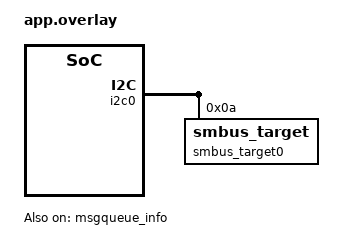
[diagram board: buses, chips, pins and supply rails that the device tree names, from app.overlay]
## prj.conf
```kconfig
CONFIG_ZTEST=y

CONFIG_TT_BH_ARC=y
CONFIG_TT_BOOT_FS=y
CONFIG_NANOPB=y

CONFIG_EMUL=y
CONFIG_I2C_EMUL=y
CONFIG_I2C_TARGET=y
CONFIG_SMBUS_TARGET=y
CONFIG_I2C=y

CONFIG_CLOCK_CONTROL=y
CONFIG_CLOCK_CONTROL_EMUL=y
```

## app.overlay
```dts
/ {
	fwtable: fwtable {
		compatible = "tenstorrent,bh-fwtable";
		status = "okay";
		flash-dev = <&flashcontroller0>;
	};

	pll0: pll0 {
		compatible = "tenstorrent,clock-control-emul";
		status = "okay";
	};

	pll1: pll1 {
		compatible = "tenstorrent,clock-control-emul";
		status = "okay";
	};

	pll4: pll4 {
		compatible = "tenstorrent,clock-control-emul";
		status = "okay";
	};

	dma1: noc_dma {
		status = "okay";
	};

	pvt: pvt {
		compatible = "tenstorrent,bh-pvt-emul";
		num_pd = <16>;
		num_vm = <8>;
		num_ts = <8>;
		pd-raw = <15300>;
		vm-raw = <11795>;
		ts-raw = <1142>;
		status = "okay";
	};

	efuse: efuse {
		compatible = "tenstorrent,bh-efuse-emul";
		status = "okay";
	};

	wdt0: wdt0 {
		compatible = "tenstorrent,bh-watchdog";
		status = "okay";
	};

	msgqueue_info: scratch-reg@8003042c {
		compatible = "tenstorrent,scratch-reg";
		reg = <0x8003042c 0x4>;
		status = "okay";
	};
};

#include <tenstorrent/tt_bh_reset_emul.dtsi>

&i2c0 {
	smbus_target0: smbus@0a {
		status = "okay";
		compatible = "zephyr,smbus_target";
		reg = <0x0a>;
	};
};
```

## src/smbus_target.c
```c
/*
 * Copyright (c) 2025 Tenstorrent AI ULC
 *
 * SPDX-License-Identifier: Apache-2.0
 */

#include <zephyr/ztest.h>
#include <zephyr/drivers/i2c.h>
#include <zephyr/fff.h>
#include <tenstorrent/tt_smbus_regs.h>
#include <zephyr/drivers/i2c.h>
#include "reg_mock.h"
#include "asic_state.h"
#include "telemetry.h"
#include "status_reg.h"
#include "cm2dm_msg.h"

static const struct device *const i2c0_dev = DEVICE_DT_GET_OR_NULL(DT_NODELABEL(i2c0));
static const uint8_t tt_i2c_addr = 0xA;
static void tear_down_tc(void *fixture)
{

	(void)fixture;

	static const struct device *const smbus_target_dev =
		DEVICE_DT_GET_OR_NULL(DT_NODELABEL(smbus_target0));

	/*Whiteboxing this isn't great */
	struct i2c_target_config *smbus_target_cfg =
		(struct i2c_target_config *)smbus_target_dev->data;

	smbus_target_cfg->callbacks->stop(smbus_target_cfg);
}

ZTEST(smbus_target, test_write_received_bad_cmd_0)
{
	/* 0 is not a valid command */
	uint8_t write_data[] = {0U};

	zassert_equal(-1, i2c_write(i2c0_dev, write_data, sizeof(write_data), tt_i2c_addr));
}

ZTEST(smbus_target, test_write_received_bad_cmd_255)
{
	/* 255 is not a valid command */
	uint8_t write_data[] = {255U};

	zassert_equal(-1, i2c_write(i2c0_dev, write_data, sizeof(write_data), tt_i2c_addr));
}

ZTEST(smbus_target, test_write_received_bad_cmd_msg_max)
{
	uint8_t write_data[] = {CMFW_SMBUS_MSG_MAX};

	/* 255 is not a valid command */
	zassert_equal(-1, i2c_write(i2c0_dev, write_data, sizeof(write_data), tt_i2c_addr));
}

ZTEST(smbus_target, test_write_received_cmd_before_stop)
{
	uint8_t write_data[] = {0, CMFW_SMBUS_MSG_MAX};

	/* starting a valid command before stopping the invalid command should fail */
	zassert_equal(-1, i2c_write(i2c0_dev, write_data, sizeof(write_data), tt_i2c_addr));
}

ZTEST(smbus_target, test_unsolicited_read_received)
{
	uint8_t read_data[1];

	/* We always need to get a command to process first. */
	zassert_equal(-1, i2c_read(i2c0_dev, read_data, sizeof(read_data), tt_i2c_addr));
	zexpect_equal(0xFF, read_data[0]);
}

ZTEST(smbus_target, test_write_received_bad_blocksize)
{
	uint8_t write_data[] = {CMFW_SMBUS_TEST_WRITE_BLOCK, 5U, 0xAA, 0xBB, 0xCC, 0xDD, 0xEE, 54U};

	/* WRITE_BLOCK is a valid command */
	zassert_equal(-1, i2c_write(i2c0_dev, write_data, sizeof(write_data), tt_i2c_addr));
}

ZTEST(smbus_target, test_write_received_data_for_read_cmd)
{
	/* TEST_READ is a valid command but expects the user to write no additional data */
	uint8_t write_data[] = {CMFW_SMBUS_TEST_READ, 10U};

	zassert_equal(-1, i2c_write(i2c0_dev, write_data, sizeof(write_data), tt_i2c_addr));
}

ZTEST(smbus_target, test_write_rx_rqst_for_write_cmd)
{
	uint8_t write_data[] = {CMFW_SMBUS_TEST_WRITE_BLOCK, 4U};
	uint8_t read_data[1];
	/* TEST_WRITE_BLOCK is a valid command but expects data to be written, not read */
	zassert_equal(-1, i2c_write_read(i2c0_dev, tt_i2c_addr, write_data, sizeof(write_data),
					 read_data, sizeof(read_data)));
	zexpect_equal(0xFF, read_data[0]);
}

ZTEST(smbus_target, test_read_byte_test)
{
	uint8_t write_data[] = {CMFW_SMBUS_TEST_READ};
	uint8_t read_data[2];

	ReadReg_fake.return_val = 0x5AU;
	/* The value received by var should match what the fake stored */
	zassert_equal(0, i2c_write_read(i2c0_dev, tt_i2c_addr, write_data, sizeof(write_data),
					read_data, sizeof(read_data)));
	zexpect_equal(0x5AU, read_data[0]);
}

ZTEST(smbus_target, test_read_word_test)
{
	uint8_t write_data[] = {CMFW_SMBUS_TEST_READ_WORD};
	uint8_t read_data[3];

	ReadReg_fake.return_val = 0x915AU;

	/* The value received by var should match what the fake stored */
	zassert_equal(0, i2c_write_read(i2c0_dev, tt_i2c_addr, write_data, sizeof(write_data),
					read_data, sizeof(read_data)));
	zexpect_equal(0x5AU, read_data[0]);
	zexpect_equal(0x91U, read_data[1]);
}

ZTEST(smbus_target, test_read_block_test)
{
	uint8_t write_data[] = {CMFW_SMBUS_TEST_READ_BLOCK};
	uint8_t read_data[6];

	ReadReg_fake.return_val = 0x8765915AU;
	/* The value received by var should match what the fake stored */
	zassert_equal(0, i2c_write_read(i2c0_dev, tt_i2c_addr, write_data, sizeof(write_data),
					read_data, sizeof(read_data)));
	zexpect_equal(4U, read_data[0]);
	zexpect_equal(0x5AU, read_data[1]);
	zexpect_equal(0x91U, read_data[2]);
	zexpect_equal(0x65U, read_data[3]);
	zexpect_equal(0x87U, read_data[4]);
}

ZTEST(smbus_target, test_write_byte_test)
{
	uint8_t write_data[] = {CMFW_SMBUS_TEST_WRITE, 0x5BU, 136U};
	uint8_t set_count = 0U;

	zassert_equal(0, i2c_write(i2c0_dev, write_data, sizeof(write_data), tt_i2c_addr));
	for (uint8_t i = 0U; i < WriteReg_fake.call_count; i++) {
		if (WriteReg_fake.arg0_history[i] == STATUS_FW_SCRATCH_REG_ADDR) {
			zassert_equal(WriteReg_fake.arg1_history[i], (1 << 16U) | 0x5BU);
			set_count++;
		}
	}
	zexpect_equal(1U, set_count);
}

ZTEST(smbus_target, test_write_word_test)
{
	uint8_t write_data[] = {CMFW_SMBUS_TEST_WRITE_WORD, 0x5BU, 0x2AU, 177U};
	uint8_t set_count = 0U;

	zassert_equal(0, i2c_write(i2c0_dev, write_data, sizeof(write_data), tt_i2c_addr));

	for (uint8_t i = 0U; i < WriteReg_fake.call_count; i++) {
		if (WriteReg_fake.arg0_history[i] == STATUS_FW_SCRATCH_REG_ADDR) {
			zexpect_equal(WriteReg_fake.arg1_history[i], (2 << 16U) | 0x2A5BU);
			set_count++;
		}
	}
	zexpect_equal(1U, set_count);
}

ZTEST(smbus_target, test_write_block_test)
{
	uint8_t write_data[] = {CMFW_SMBUS_TEST_WRITE_BLOCK, 0x4, 0x5BU, 0x2AU, 0x13U, 0x99U, 243U};
	uint8_t set_count = 0U;

	zassert_equal(0, i2c_write(i2c0_dev, write_data, sizeof(write_data), tt_i2c_addr));

	for (uint8_t i = 0U; i < WriteReg_fake.call_count; i++) {
		if (WriteReg_fake.arg0_history[i] == STATUS_FW_SCRATCH_REG_ADDR) {
			zexpect_equal(WriteReg_fake.arg1_history[i], 0x99132A5BU);
			set_count++;
		}
	}
	zexpect_equal(1U, set_count);
}

ZTEST(smbus_target, test_update_arc_test_state)
{
	uint8_t write_data[] = {CMFW_SMBUS_UPDATE_ARC_STATE, 0x3, 0x3U, 0xDEU, 0xAFU};

	zassert_equal(0, i2c_write(i2c0_dev, write_data, sizeof(write_data), tt_i2c_addr));
	zassert_equal(A3State, get_asic_state());


	write_data[2] = 0U;
	zassert_equal(0, i2c_write(i2c0_dev, write_data, sizeof(write_data), tt_i2c_addr));
	zassert_equal(A0State, get_asic_state());
}

ZTEST(smbus_target, test_telem_read_bad_w_blocksize)
{
	uint8_t write_data[] = {CMFW_SMBUS_TELEMETRY_READ, 0x3, 0xAA, 0xBB, 0xCC};

	zassert_equal(-1, i2c_write(i2c0_dev, write_data, sizeof(write_data), tt_i2c_addr));
}

ZTEST(smbus_target, test_telem_read)
{
	uint8_t write_data[] = {CMFW_SMBUS_TELEMETRY_READ, 0x1U, TAG_AICLK};
	uint8_t read_data[8];

	zassert_equal(0, i2c_write_read(i2c0_dev, tt_i2c_addr, write_data, sizeof(write_data),
					read_data, sizeof(read_data)));
	zexpect_equal(7U, read_data[0]);
	zexpect_equal(0U, read_data[1]);
	/* bytes 2-3 are DC. Bytes 4-7 are telem data but currently aren't emulated */
}

ZTEST(smbus_target, test_telem_write_no_reset)
{
	uint8_t write_data[35] = {[0] = CMFW_SMBUS_TELEMETRY_WRITE, [1] = 33U};
	uint8_t read_data[21];

	zassert_equal(0, i2c_write_read(i2c0_dev, tt_i2c_addr, write_data, sizeof(write_data),
					read_data, sizeof(read_data)));
	zexpect_equal(20U, read_data[0]);

	uint32_t ctl = 0;

	(void)memcpy(&ctl, &read_data[12], sizeof(ctl));
	zexpect_equal(0U, ctl);
}

ZTEST(smbus_target, test_block_write_block_read_with_pec)
{
	uint8_t write_data[] = {0xDE, 4, 0xde, 0xad, 0xbe, 0xef};
	uint8_t read_data[6];

	zassert_equal(0, i2c_write_read(i2c0_dev, tt_i2c_addr, write_data, sizeof(write_data),
					read_data, sizeof(read_data)));
	zexpect_equal(4, read_data[0]);
}

ZTEST_SUITE(smbus_target, NULL, NULL, NULL, tear_down_tc, NULL);
```
